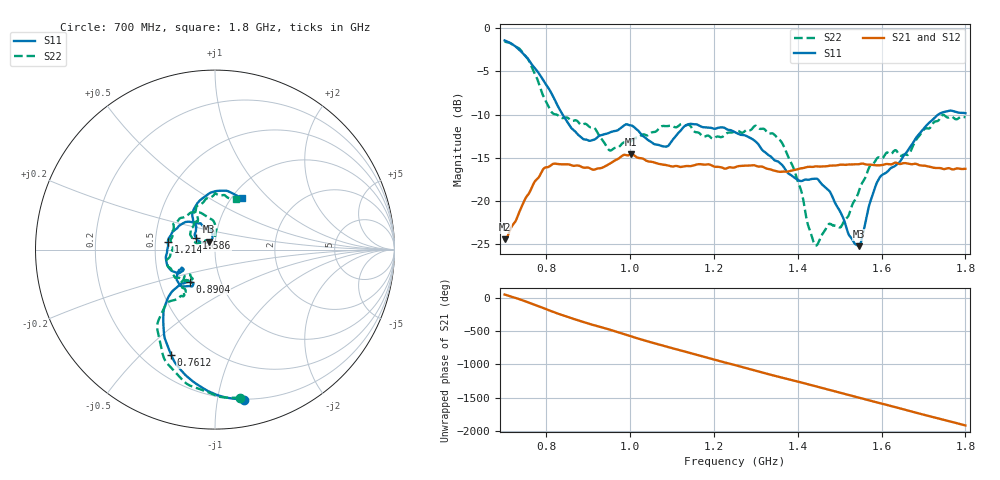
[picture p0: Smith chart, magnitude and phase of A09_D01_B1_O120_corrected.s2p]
! Created with skrf 1.9.0 (http://scikit-rf.org).
# Hz S RI R 50.0
!freq ReS11 ImS11 ReS21 ImS21 ReS12 ImS12 ReS22 ImS22
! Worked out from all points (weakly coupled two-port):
!   1601 points, 700 MHz to 1.8 GHz, reference 50 ohm
!   highest |S21| = -14.61 dB at 1.002 GHz (marker M1); lowest = -24.4 dB at 700 MHz (marker M2)
!   lowest |S11| = -25.2 dB at 1.545 GHz (marker M3), VSWR 1.12, Z = 46.6 + j4.09 ohm
!   |S11| at or under -10 dB: 838.6 MHz to 1.735 GHz (896 MHz wide, 69.6 % of centre)
!   |S22| runs from -25.2 to -1.5 dB; largest |S21 - S12| = 0.0038
!   S11 on the Smith chart (normalised r, x): 700 MHz: 0.20, -1.19; 761.2 MHz: 0.31, -0.62; 890.4 MHz: 0.71, -0.27; 1.214 GHz: 0.58, +0.05; 1.586 GHz: 0.80, +0.10; 1.8 GHz: 1.12, +0.71
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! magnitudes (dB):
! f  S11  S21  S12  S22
! 700 MHz  -1.4  -24.4  -24.2  -1.5
! 761.2 MHz  -3.9  -18.8  -18.7  -4.1
! 812.8 MHz  -7.6  -15.8  -15.8  -9.7
! 883.6 MHz  -12.7  -16.0  -15.9  -11.2
! 890.4 MHz  -12.9  -16.1  -16.1  -11.1
! 950.9 MHz  -12.1  -15.7  -15.7  -14.1
! 1.002 GHz  -11.3  -14.6  -14.7  -13.0
! 1.067 GHz  -13.5  -15.7  -15.6  -11.7
! 1.139 GHz  -11.1  -16.0  -15.9  -11.2
! 1.214 GHz  -11.5  -16.1  -16.0  -12.6
! 1.25 GHz  -12.0  -16.1  -16.0  -11.9
! 1.3 GHz  -13.2  -15.9  -15.9  -11.3
! 1.36 GHz  -15.7  -16.6  -16.6  -13.1
! 1.405 GHz  -17.7  -16.3  -16.3  -18.3
! 1.434 GHz  -17.4  -16.1  -16.0  -24.1
! 1.503 GHz  -21.4  -15.8  -15.8  -23.0
! 1.545 GHz  -25.2  -15.7  -15.7  -19.0
! 1.586 GHz  -18.2  -15.9  -15.9  -15.3
! 1.617 GHz  -16.4  -15.7  -15.7  -14.5
! 1.663 GHz  -14.1  -15.7  -15.7  -14.7
! 1.735 GHz  -10.0  -16.2  -16.2  -10.7
! 1.8 GHz  -9.8  -16.3  -16.3  -10.3
